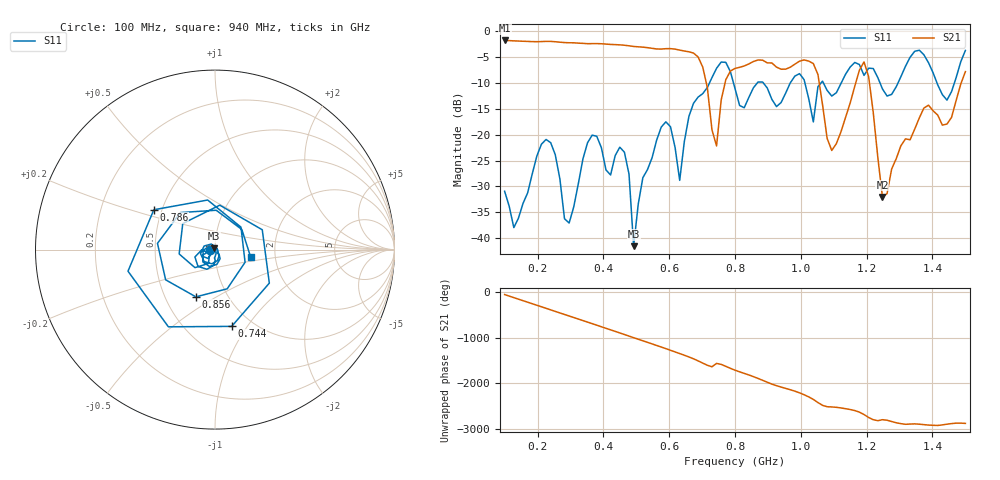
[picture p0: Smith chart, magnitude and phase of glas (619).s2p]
! NanoVNA-App
! Date: 2025-09-25 16:00:17
! Start: 100MHz Stop: 1,5GHz Points: 101
! S-Parameter data: F S11 S21 S12 S22
# Hz S RI R 50
!  Frequency  S11_Real  S11_Imag  S21_Real  S21_Imag  S12_Real  S12_Imag  S22_Real  S22_Imag
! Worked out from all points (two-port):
!   101 points, 100 MHz to 1.5 GHz, reference 50 ohm
!   highest |S21| = -1.80 dB at 100 MHz (marker M1); lowest = -32.0 dB at 1.248 GHz (marker M2)
!   |S21| within 3 dB of the highest: start of sweep to 684.4 MHz
!   lowest |S11| = -41.5 dB at 492 MHz (marker M3), VSWR 1.02, Z = 49.5 + j0.633 ohm
!   |S11| at or under -10 dB: start of sweep to 722.5 MHz; 795.4 MHz to 867.8 MHz (72.48 MHz wide, 8.72 % of centre); 886 MHz to 967.9 MHz (81.88 MHz wide, 8.83 % of centre) (the widest 3 of 7)
!   S12 and S22 are empty: the file has one direction only
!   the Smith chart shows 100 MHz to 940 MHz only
!   S11 on the Smith chart (normalised r, x): 100 MHz: 0.94, -0.01; 744 MHz: 0.80, -0.85; 786 MHz: 0.45, +0.24; 856 MHz: 0.71, -0.41; 940 MHz: 1.49, -0.14
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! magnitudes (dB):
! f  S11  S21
! 100 MHz  -30.9  -1.8
! 128 MHz  -38.0  -1.9
! 226 MHz  -20.9  -2.0
! 296 MHz  -37.1  -2.2
! 338 MHz  -24.7  -2.4
! 464 MHz  -23.4  -2.7
! 492 MHz  -41.5  -3.0
! 576 MHz  -18.5  -3.5
! 632 MHz  -28.8  -3.7
! 702 MHz  -12.1  -7.0
! 744 MHz  -7.2  -22.2
! 786 MHz  -7.8  -7.7
! 800 MHz  -11.1  -7.2
! 856 MHz  -10.9  -5.9
! 940 MHz  -13.8  -7.4
! 996 MHz  -8.2  -5.8
! 1.038 GHz  -17.5  -6.3
! 1.094 GHz  -12.5  -23.0
! 1.192 GHz  -8.6  -5.9
! 1.248 GHz  -11.2  -32.0
! 1.276 GHz  -12.2  -26.6
! 1.5 GHz  -3.7  -7.8
